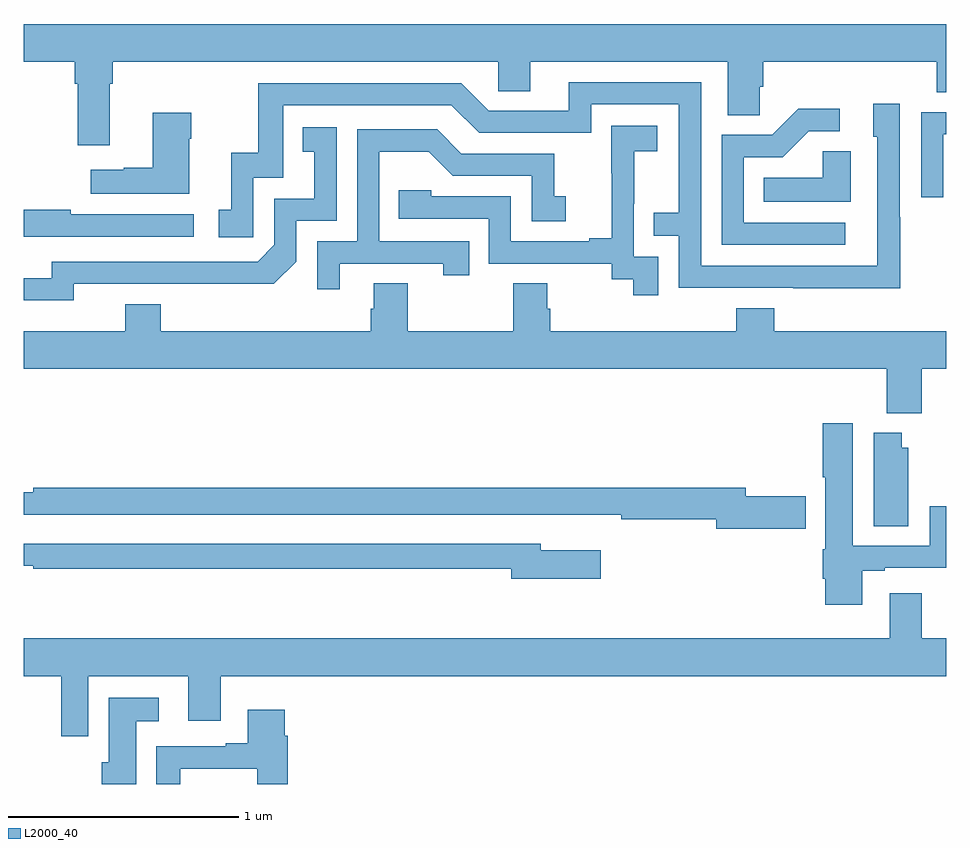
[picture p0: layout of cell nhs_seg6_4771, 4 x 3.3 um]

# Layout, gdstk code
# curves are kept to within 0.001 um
import gdstk
lib = gdstk.Library(unit=1e-6, precision=1e-09)
def P(c, l, *ps):  # polygons
    for p in ps: c.add(gdstk.Polygon(p, *l))
L2000_40 = (2000, 40)

nhs_seg6_4771 = lib.new_cell('nhs_seg6_4771')
P(nhs_seg6_4771, L2000_40, [(393.373,984.536),(393.386,984.536),(393.386,984.632),(395.058,984.632),(395.058,984.505),(395.197,984.505),(395.197,984.632),(396.053,984.632),(396.053,984.4),(396.192,984.4),(396.192,984.523),(396.206,984.523),(396.206,984.632),(396.959,984.632),(396.959,984.499),(397,984.499),(397,984.796),(393,984.796),(393,984.632),(393.221,984.632),(393.221,984.536),(393.233,984.536),(393.233,984.27),(393.373,984.27)],
  [(396.801,983.957),(396.798,983.957),(396.798,984.451),(396.683,984.451),(396.683,984.306),(396.702,984.306),(396.702,983.748),(395.937,983.748),(395.937,984.543),(395.363,984.543),(395.363,984.42),(395.016,984.42),(394.896,984.54),(394.017,984.54),(394.017,984.238),(393.899,984.238),(393.899,983.991),(393.846,983.991),(393.846,983.871),(393.996,983.871),(393.996,984.129),(394.125,984.129),(394.125,984.444),(394.854,984.444),(394.974,984.324),(395.46,984.324),(395.46,984.447),(395.841,984.447),(395.841,983.978),(395.731,983.978),(395.731,983.877),(395.841,983.877),(395.841,983.652),(396.801,983.651)],
  [(396.562,983.934),(396.123,983.934),(396.123,984.219),(396.292,984.219),(396.403,984.33),(396.538,984.33),(396.538,984.428),(396.359,984.428),(396.246,984.315),(396.027,984.315),(396.027,983.838),(396.562,983.838)],
  [(396.987,984.318),(397,984.318),(397,984.414),(396.891,984.414),(396.891,984.045),(396.987,984.045)],
  [(393.718,984.299),(393.726,984.299),(393.726,984.412),(393.56,984.412),(393.56,984.173),(393.434,984.173),(393.434,984.163),(393.291,984.163),(393.291,984.059),(393.718,984.059)],
  [(395.751,983.787),(395.646,983.787),(395.646,984.017),(395.648,984.017),(395.648,984.245),(395.746,984.245),(395.746,984.355),(395.548,984.355),(395.548,984.149),(395.549,984.149),(395.549,983.866),(395.453,983.866),(395.453,983.853),(395.112,983.853),(395.112,984.048),(394.767,984.048),(394.767,984.075),(394.627,984.075),(394.627,983.952),(395.016,983.952),(395.016,983.757),(395.55,983.757),(395.55,983.689),(395.643,983.689),(395.643,983.619),(395.751,983.619)],
  [(393.216,983.67),(394.084,983.669),(394.182,983.766),(394.182,983.943),(394.356,983.943),(394.356,984.349),(394.21,984.349),(394.21,984.243),(394.259,984.243),(394.259,984.039),(394.086,984.039),(394.086,983.838),(394.014,983.766),(393.12,983.766),(393.12,983.694),(393,983.694),(393,983.597),(393.216,983.597)],
  [(394.369,983.757),(394.82,983.757),(394.82,983.706),(394.931,983.706),(394.931,983.853),(394.542,983.853),(394.542,984.242),(394.756,984.242),(394.86,984.138),(395.202,984.138),(395.202,983.94),(395.35,983.94),(395.35,984.049),(395.301,984.049),(395.301,984.234),(394.897,984.234),(394.792,984.339),(394.446,984.339),(394.446,983.853),(394.272,983.853),(394.272,983.646),(394.369,983.646)],
  [(396.586,984.245),(396.465,984.245),(396.465,984.13),(396.208,984.13),(396.208,984.026),(396.586,984.026)],
  [(393.736,983.97),(393.203,983.97),(393.203,983.99),(393,983.99),(393,983.874),(393.736,983.874)],
  [(396.895,983.3),(397,983.3),(397,983.464),(396.254,983.464),(396.254,983.563),(396.089,983.563),(396.089,983.464),(395.282,983.464),(395.282,983.562),(395.269,983.562),(395.269,983.672),(395.122,983.672),(395.122,983.464),(394.665,983.464),(394.665,983.672),(394.517,983.672),(394.517,983.562),(394.505,983.562),(394.505,983.464),(393.593,983.464),(393.593,983.581),(393.44,983.581),(393.44,983.464),(393,983.464),(393,983.3),(396.743,983.3),(396.743,983.108),(396.895,983.108)],
  [(396.637,982.425),(396.733,982.425),(396.733,982.437),(397,982.437),(397,982.705),(396.929,982.705),(396.929,982.533),(396.595,982.533),(396.595,983.065),(396.464,983.065),(396.464,982.831),(396.476,982.831),(396.476,982.517),(396.464,982.517),(396.464,982.39),(396.476,982.39),(396.476,982.278),(396.637,982.278)],
  [(396.835,982.959),(396.808,982.959),(396.808,983.023),(396.686,983.023),(396.686,982.618),(396.835,982.618)],
  [(396.391,982.748),(396.13,982.748),(396.13,982.784),(393.04,982.784),(393.04,982.765),(393,982.765),(393,982.668),(395.338,982.668),(395.338,982.667),(395.59,982.667),(395.59,982.648),(396.002,982.648),(396.002,982.606),(396.391,982.606)],
  [(395.503,982.513),(395.242,982.513),(395.242,982.542),(393,982.542),(393,982.446),(393.04,982.446),(393.04,982.434),(395.114,982.434),(395.114,982.391),(395.503,982.391)],
  [(393.279,981.968),(393.713,981.968),(393.713,981.774),(393.853,981.774),(393.853,981.968),(397,981.968),(397,982.132),(396.895,982.132),(396.895,982.327),(396.755,982.327),(396.755,982.132),(393,982.132),(393,981.968),(393.163,981.968),(393.163,981.708),(393.279,981.708)],
  [(393.487,981.773),(393.586,981.773),(393.586,981.874),(393.368,981.874),(393.368,981.594),(393.338,981.594),(393.338,981.5),(393.487,981.5)],
  [(393.679,981.567),(394.013,981.567),(394.013,981.5),(394.145,981.5),(394.145,981.71),(394.132,981.71),(394.132,981.823),(393.971,981.823),(393.971,981.676),(393.875,981.676),(393.875,981.663),(393.575,981.663),(393.575,981.5),(393.679,981.5)])

lib.write_gds('nhs_seg6_4771.gds')
